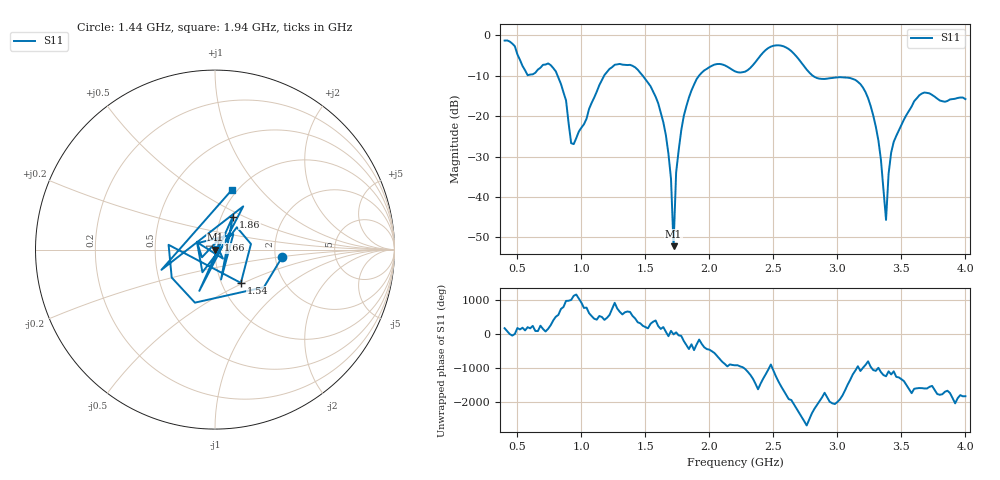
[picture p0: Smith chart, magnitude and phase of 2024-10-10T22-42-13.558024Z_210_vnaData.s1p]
! Created with skrf (http://scikit-rf.org).
# Hz S RI R 50.0
!freq ReS11 ImS11
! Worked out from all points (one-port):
!   181 points, 400 MHz to 4 GHz, reference 50 ohm
!   lowest |S11| = -52.2 dB at 1.72 GHz (marker M1), VSWR 1.00, Z = 50.2 - j0.0238 ohm
!   |S11| at or under -10 dB: 814 MHz to 1.177 GHz (363.1 MHz wide, 36.5 % of centre); 1.48 GHz to 1.918 GHz (438.5 MHz wide, 25.8 % of centre); 2.809 GHz to end of sweep
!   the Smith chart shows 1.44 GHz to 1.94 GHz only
!   S11 on the Smith chart (normalised r, x): 1.44 GHz: 2.18, -0.21; 1.54 GHz: 1.23, -0.48; 1.66 GHz: 1.03, +0.11; 1.86 GHz: 1.13, +0.43; 1.94 GHz: 0.95, +0.71
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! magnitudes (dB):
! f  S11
! 400 MHz  -1.3
! 580 MHz  -9.9
! 760 MHz  -7.4
! 860 MHz  -14.1
! 940 MHz  -26.9
! 1.18 GHz  -9.8
! 1.3 GHz  -7.1
! 1.44 GHz  -8.5
! 1.54 GHz  -12.6
! 1.66 GHz  -24.7
! 1.7 GHz  -35.5
! 1.72 GHz  -52.2
! 1.74 GHz  -33.9
! 1.76 GHz  -28.4
! 1.86 GHz  -13.6
! 1.94 GHz  -9.2
! 2.2 GHz  -8.9
! 2.5 GHz  -2.6
! 2.66 GHz  -4.5
! 2.84 GHz  -10.6
! 3.1 GHz  -10.6
! 3.28 GHz  -19.8
! 3.34 GHz  -30.7
! 3.38 GHz  -45.7
! 3.42 GHz  -29.0
! 3.56 GHz  -18.6
! 3.68 GHz  -14.1
! 4 GHz  -15.8
